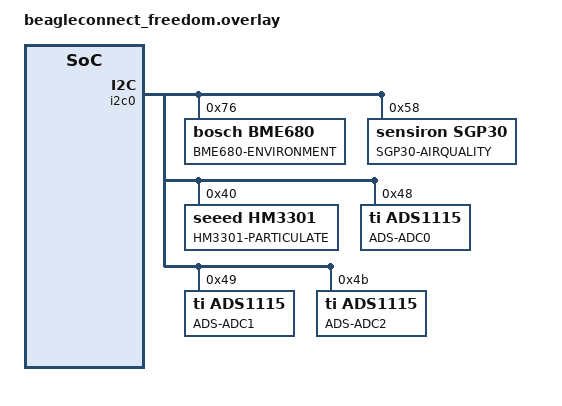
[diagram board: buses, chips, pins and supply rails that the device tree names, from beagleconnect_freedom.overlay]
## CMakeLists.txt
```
# SPDX-License-Identifier: Apache-2.0

cmake_minimum_required(VERSION 3.13.1)
# set_property(GLOBAL PROPERTY CSTD gnu11)
include($ENV{ZEPHYR_BASE}/cmake/app/boilerplate.cmake NO_POLICY_SCOPE)
project(beagleconnect_freedom)

FILE(GLOB app_sources src/*.c)
target_sources(app PRIVATE ${app_sources})

#set(bsec_dir $ENV{ZEPHYR_BASE}/../../bosch/BSEC_1.4.8.0_Generic_Release)
#set(BSEC_LIB_DIR     ${bsec_dir}/algo/normal_version/bin/gcc/Cortex_M4F)
#set(BSEC_INCLUDE_DIR ${bsec_dir}/algo/normal_version/bin/gcc/Cortex_M4F)
#target_include_directories(app PRIVATE ${bsec_dir}/examples/bsec_iot_example)
#target_sources(app PRIVATE ${bsec_dir}/examples/bsec_iot_example/bme680.c)
#add_library(bsec_lib STATIC IMPORTED GLOBAL)
#add_dependencies(bsec_lib math_lib bsec_target)
#set_target_properties(bsec_lib PROPERTIES IMPORTED_LOCATION "${BSEC_LIB_DIR}/libalgobsec.a")
#set_target_properties(bsec_lib PROPERTIES INTERFACE_INCLUDE_DIRECTORIES ${BSEC_INCLUDE_DIR})
#target_link_libraries(bsec_lib INTERFACE -L${LIBC_LIBRARY_DIR})
```

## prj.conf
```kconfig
CONFIG_SERIAL=y
CONFIG_SPI=y
CONFIG_I2C=y
#CONFIG_I2C_LOG_LEVEL_DBG=y
CONFIG_GPIO=y
CONFIG_CONSOLE=y
CONFIG_UART_CONSOLE=y
CONFIG_CONSOLE_SUBSYS=y
CONFIG_CONSOLE_GETCHAR=y
CONFIG_ENTROPY_GENERATOR=y
# This does not seem to be working atm
# CONFIG_FLASH=y
# CONFIG_SPI_NOR=y
CONFIG_LED=y
CONFIG_LOG=y
CONFIG_SHELL=y
CONFIG_GPIO_SHELL=y
CONFIG_SENSOR=y
#CONFIG_SENSOR_LOG_LEVEL_DBG=y
CONFIG_ADS1115=y
CONFIG_OPT3001=y
CONFIG_LIS2DH=y
CONFIG_LIS2DH_OPER_MODE_LOW_POWER=n
CONFIG_HDC20X0=y
CONFIG_BME680=y
CONFIG_HM3301=y
CONFIG_SGP30=y
CONFIG_IEEE802154=y
CONFIG_NETWORKING=y
CONFIG_NET_ICMPV6_LOG_LEVEL_DBG=y
CONFIG_NET_HOSTNAME_ENABLE=y
CONFIG_NET_IF_UNICAST_IPV6_ADDR_COUNT=3
CONFIG_NET_IF_MCAST_IPV6_ADDR_COUNT=4
CONFIG_NET_SHELL=y
CONFIG_NET_TCP=y
#CONFIG_NET_TCP1=y
CONFIG_NET_MAX_CONN=8
CONFIG_NET_MAX_CONTEXTS=8
CONFIG_NET_CONTEXT_NET_PKT_POOL=y
CONFIG_NET_PKT_RX_COUNT=8
CONFIG_NET_PKT_TX_COUNT=8
CONFIG_NET_STATISTICS=y
CONFIG_NET_LOG=y
CONFIG_MDNS_RESPONDER=y
CONFIG_DNS_SD=y
CONFIG_NET_CONFIG_AUTO_INIT=y
CONFIG_NET_CONFIG_SETTINGS=y
CONFIG_NET_CONFIG_MY_IPV6_ADDR="2001:db8::1"
CONFIG_NET_CONFIG_PEER_IPV6_ADDR="2001:db8::2"
CONFIG_NET_SOCKETS=y
CONFIG_NET_SOCKETS_POSIX_NAMES=y
CONFIG_NET_SOCKETS_POLL_MAX=8
CONFIG_NET_CONNECTION_MANAGER=y
CONFIG_NET_CONFIG_NEED_IPV6=y
CONFIG_NET_CONFIG_NEED_IPV4=n
CONFIG_NET_L2_IEEE802154=y
CONFIG_NET_L2_IEEE802154_SHELL=y
CONFIG_NET_L2_IEEE802154_LOG_LEVEL_INF=y
CONFIG_NET_CONFIG_IEEE802154_CHANNEL=26
CONFIG_NET_CONFIG_IEEE802154_DEV_NAME="IEEE802154_0"
#CONFIG_NET_CONFIG_IEEE802154_CHANNEL=1
#CONFIG_NET_CONFIG_IEEE802154_DEV_NAME="IEEE802154_1"
CONFIG_IEEE802154_CC13XX_CC26XX=y
CONFIG_IEEE802154_CC13XX_CC26XX_SUB_GHZ=n
#CONFIG_IEEE802154_CC13XX_CC26XX=n
#CONFIG_IEEE802154_CC13XX_CC26XX_SUB_GHZ=y

# Hacks
CONFIG_NEWLIB_LIBC=y
CONFIG_POSIX_MAX_FDS=16
CONFIG_PTHREAD_IPC=y
CONFIG_MAX_PTHREAD_COUNT=16
#CONFIG_PTHREAD_DYNAMIC_STACK=y
```

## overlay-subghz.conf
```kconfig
CONFIG_IEEE802154_CC13XX_CC26XX=n
CONFIG_IEEE802154_CC13XX_CC26XX_SUB_GHZ=y
CONFIG_NET_CONFIG_IEEE802154_DEV_NAME="IEEE802154_1"
CONFIG_NET_CONFIG_IEEE802154_CHANNEL=1
CONFIG_IEEE802154_CC13XX_CC26XX_SUB_GHZ_NUM_RX_BUF=6
```

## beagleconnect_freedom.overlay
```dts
/*
 * Copyright (c) 2020, Jason Kridner, BeagleBoard.org Foundation
 *
 * SPDX-License-Identifier: Apache-2.0
 */

&i2c0 {
	// Grove module defaults to 0x76
	// Environment Click defaults to 0x76
	environment: bme680@76 {
		compatible = "bosch,bme680";
		reg = <0x76>;
		label = "BME680-ENVIRONMENT";
	};

	airquality: sgp30@58 {
		compatible = "sensiron,sgp30";
		reg = <0x58>;
		label = "SGP30-AIRQUALITY";
	};

	particulate: hm3301@40 {
		compatible = "seeed,hm3301";
		reg = <0x40>;
		label = "HM3301-PARTICULATE";
	};

	//0x48,0x49,0x4b
	adc0: ads1115_0@48 {
		compatible = "ti,ads1115";
		reg = <0x48>;
		label = "ADS-ADC0";
	};

	adc1: ads1115_1@49 {
		compatible = "ti,ads1115";
		reg = <0x49>;
		label = "ADS-ADC1";
	};

	adc2: ads1115_2@4b {
		compatible = "ti,ads1115";
		reg = <0x4b>;
		label = "ADS-ADC2";
	};
};
```

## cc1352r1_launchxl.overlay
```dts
/*
 * Copyright (c) 2020, Jason Kridner, BeagleBoard.org Foundation
 *
 * SPDX-License-Identifier: Apache-2.0
 */

&i2c0 {
	// Grove module defaults to 0x76
	// Environment Click defaults to 0x76
	environment: bme680@76 {
		compatible = "bosch,bme680";
		reg = <0x76>;
		label = "BME680-ENVIRONMENT";
	};

	/* Don't error out, even if these devices aren't installed */
	accel: lis2dh12-accel@18 {
		compatible = "st,lis2dh12", "st,lis2dh", "st,lis2de12";
		reg = <0x18>;
		label = "LIS2DE12-ACCEL";
	};

	light: opt3001-light@44 {
		compatible = "ti,opt3001";
		reg = <0x44>;
		label = "OPT3001-LIGHT";
	};

	humidity: hdc2010-humidity@40 {
		compatible = "ti,hdc20x0";
		reg = <0x40>;
		/* drdy-gpios = <&gpio0 7 GPIO_ACTIVE_LOW>; */
		label = "HDC2010-HUMIDITY";
	};
};
```

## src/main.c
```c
/*
 * Copyright (c) 2020 Friedt Professional Engineering Services, Inc
 * Copyright (c) 2020 Jason Kridner
 *
 * SPDX-License-Identifier: Apache-2.0
 */

#include <zephyr.h>
#include <device.h>
#include <drivers/gpio.h>
#include <drivers/led.h>
#include <drivers/sensor.h>
#include <drivers/spi.h>
#include <stdio.h>
#include <stdbool.h>
#include <stdint.h>
#include <string.h>
#include <net/net_ip.h>
#include <net/socket.h>
#include <sys/util.h>
#include <random/rand32.h>

#define LOG_LEVEL LOG_LEVEL_INF
#include <logging/log.h>
LOG_MODULE_REGISTER(sensortest);

#define BLINK_MS 500

#define MAX_STR_LEN 200
static char outstr[MAX_STR_LEN];

enum api {
	BUTTON_API,
	SENSOR_API,
};

enum edev {
	BUTTON,
	LIGHT,
	ACCEL,
	HUMIDITY,
	ENVIRONMENT,
	AIRQUALITY,
	PARTICULATE,
	NUM_DEVICES,
};

struct led_work {
	uint8_t active_led;
	struct k_delayed_work dwork;
};

static void sensor_work_handler(struct k_work *work);

static const char *device_labels[NUM_DEVICES] = {
	[BUTTON] = DT_LABEL(DT_ALIAS(sw0)),
	[LIGHT] = "LIGHT",
	[ACCEL] = "ACCEL",
	[HUMIDITY] = "HUMIDITY",
	[ENVIRONMENT] = "ENVIRONMENT",
	[AIRQUALITY] = "AIRQUALITY",
	[PARTICULATE] = "PARTICULATE",
};

static const char *device_names[NUM_DEVICES] = {
	[BUTTON] = DT_GPIO_LABEL(DT_ALIAS(sw0), gpios),
	[LIGHT] = "OPT3001-LIGHT",
	[ACCEL] = "LIS2DE12-ACCEL",
	[HUMIDITY] = "HDC2010-HUMIDITY",
	[ENVIRONMENT] = "BME680-ENVIRONMENT",
	[AIRQUALITY] = "SGP30-AIRQUALITY",
	[PARTICULATE] = "HM3301-PARTICULATE",
};

static const uint8_t device_pins[NUM_DEVICES] = {
	[BUTTON] = DT_GPIO_PIN(DT_ALIAS(sw0), gpios),
};

static const enum api apis[NUM_DEVICES] = {
	BUTTON_API,
	SENSOR_API, /* LIGHT */
	SENSOR_API, /* ACCEL */
	SENSOR_API, /* HUMIDITY */
	SENSOR_API, /* ENVIRONMENT */
	SENSOR_API, /* AIRQUALITY */
	SENSOR_API, /* PARTICULATE */
};

static struct device *devices[NUM_DEVICES];

static struct led_work led_work;
K_WORK_DEFINE(sensor_work, sensor_work_handler);
static struct gpio_callback button_callback;

static struct sockaddr_in6 addr;
static int fd = -1;

/* Set TIMED_SENSOR_READ to 0 to disable */
#define TIMED_SENSOR_READ 60
static int sensor_read_count = TIMED_SENSOR_READ;

static void led_work_handler(struct k_work *work)
{
	ARG_UNUSED(work);

	/*
	int r;
	uint8_t prev_led;

	LOG_DBG("%s(): active_led: %u", __func__, led_work.active_led);

	if (led_work.active_led == LED_SUBG) {
		prev_led = LED_24G;
	} else {
		prev_led = LED_SUBG;
	}

	r = gpio_pin_set(devices[prev_led], device_pins[prev_led], 0);
	__ASSERT(r == 0, "failed to turn off led %u: %d", prev_led, r);

	r = gpio_pin_set(devices[led_work.active_led],
			 device_pins[led_work.active_led], 1);
	__ASSERT(r == 0, "failed to turn on led %u: %d", led_work.active_led,
		 r);

	if (led_work.active_led == LED_SUBG) {
		led_work.active_led = LED_24G;
	} else {
		led_work.active_led = LED_SUBG;
	}

	r = k_delayed_work_submit(&led_work.dwork, K_MSEC(BLINK_MS));
	__ASSERT(r == 0, "k_delayed_work_submit() failed for LED %u work: %d",
		 led_work.active_led, r);
	*/

	if (sensor_read_count > 0) {
		sensor_read_count--;
		if (sensor_read_count <= 0) {
			sensor_read_count = TIMED_SENSOR_READ;
			if(TIMED_SENSOR_READ > 0)
				sensor_read_count +=
				       	sys_rand32_get() % TIMED_SENSOR_READ;
			k_work_submit(&sensor_work);
		}
	}
}

/* Sampling frequency: 200Hz, 5ms
 * Sample window: 16 samples, 80ms, 12.5Hz
 * Data window: 32 RMS samples, 2.5s of data
 */
static void adc_work_handler(struct k_work *work)
{
}

static void print_sensor_value(size_t idx, const char *chan,
			       struct sensor_value *val)
{
	LOG_INF("%s: %s%d,%d", device_labels[idx], chan, val->val1, val->val2);

	sprintf(outstr+strlen(outstr), "%d%c:", idx, chan[0]);
	sprintf(outstr+strlen(outstr), "%d", val->val1);
	if (val->val2 != 0) {
		sprintf(outstr+strlen(outstr), ".%02d;", abs(val->val2) / 10000);
	} else {
		sprintf(outstr+strlen(outstr), ";");
	}
}

static void send_sensor_value()
{
	if ((fd >= 0) && (strlen(outstr) > 0)) {
		//LOG_INF("%s", log_strdup(outstr));
		sendto(fd, outstr, strlen(outstr), 0,
			(const struct sockaddr *) &addr,
			sizeof(addr));
	}

	outstr[0] = '\0';
}

static void sensor_work_handler(struct k_work *work)
{
	struct sensor_value val;
	struct sensor_value th[2] = {{0,0}, {0,0}}; /* calibration data for SGP30 */

	outstr[0] = '\0';

	for (size_t i = 0; i < NUM_DEVICES; ++i) {
		if (apis[i] != SENSOR_API) {
			continue;
		}

		if (devices[i] == NULL) {
			continue;
		}

		sensor_sample_fetch(devices[i]);

		if (i == LIGHT) {
			sensor_channel_get(devices[i], SENSOR_CHAN_LIGHT, &val);
			print_sensor_value(i, "l: ", &val);
			send_sensor_value();
			continue;
		}

		if (i == ACCEL) {
			sensor_channel_get(devices[i], SENSOR_CHAN_ACCEL_X,
					   &val);
			print_sensor_value(i, "x: ", &val);
			sensor_channel_get(devices[i], SENSOR_CHAN_ACCEL_Y,
					   &val);
			print_sensor_value(i, "y: ", &val);
			sensor_channel_get(devices[i], SENSOR_CHAN_ACCEL_Z,
					   &val);
			print_sensor_value(i, "z: ", &val);
			send_sensor_value();
			continue;
		}

		if (i == HUMIDITY) {
			sensor_channel_get(devices[i], SENSOR_CHAN_HUMIDITY,
					   &val);
			print_sensor_value(i, "h: ", &val);
			sensor_channel_get(devices[i], SENSOR_CHAN_AMBIENT_TEMP,
					   &val);
			print_sensor_value(i, "t: ", &val);
			send_sensor_value();
			continue;
		}

		if (i == ENVIRONMENT) {
			sensor_channel_get(devices[i], SENSOR_CHAN_AMBIENT_TEMP, &val);
			th[0].val1 = val.val1;
			th[0].val2 = val.val2;
			print_sensor_value(i, "t: ", &val);
			sensor_channel_get(devices[i], SENSOR_CHAN_PRESS, &val);
			print_sensor_value(i, "p: ", &val);
			sensor_channel_get(devices[i], SENSOR_CHAN_HUMIDITY, &val);
			th[1].val1 = val.val1;
			th[1].val2 = val.val2;
			print_sensor_value(i, "h: ", &val);
			sensor_channel_get(devices[i], SENSOR_CHAN_GAS_RES, &val);
			print_sensor_value(i, "g: ", &val);
			send_sensor_value();
			continue;
		}
		
		if (i == AIRQUALITY) {
			sensor_channel_get(devices[i], SENSOR_CHAN_VOC, &val);
			print_sensor_value(i, "v: ", &val);
			sensor_channel_get(devices[i], SENSOR_CHAN_CO2, &val);
			print_sensor_value(i, "c: ", &val);
			if(th[0].val1 != 0) {
				sensor_attr_set(devices[i], SENSOR_CHAN_VOC,
					SENSOR_ATTR_CALIB_TARGET, &th[0]);
			}
			send_sensor_value();
			continue;
		}

		if (i == PARTICULATE) {
			sensor_channel_get(devices[i], SENSOR_CHAN_PM_1_0, &val);
			print_sensor_value(i, "1: ", &val);
			sensor_channel_get(devices[i], SENSOR_CHAN_PM_2_5, &val);
			print_sensor_value(i, "2: ", &val);
			sensor_channel_get(devices[i], SENSOR_CHAN_PM_10, &val);
			print_sensor_value(i, "X: ", &val);
			send_sensor_value();
			continue;
		}
	}
}

static void button_handler(struct device *port, struct gpio_callback *cb,
			   gpio_port_pins_t pins)
{
	ARG_UNUSED(port);

	gpio_pin_t pin = device_pins[BUTTON];
	gpio_port_pins_t mask = BIT(pin);

	if ((mask & cb->pin_mask) != 0) {
		if ((mask & pins) != 0) {
			/* BEL (7) triggers BEEP on MSP430 */
			LOG_INF("%c%s event", 7, device_labels[BUTTON]);
			/* print sensor readings */
			k_work_submit(&sensor_work);
		}
	}
}

void main(void)
{
	int r;
	outstr[0] = '\0';

	fd = socket(AF_INET6, SOCK_DGRAM, IPPROTO_UDP);
	if (fd < 0) {
		LOG_ERR("failed to open socket");
	} else {
		memset(&addr, 0, sizeof(struct sockaddr_in6));
		addr.sin6_family = AF_INET6;
		addr.sin6_port = htons(9999);
		inet_pton(AF_INET6, "ff02::1", &addr.sin6_addr);
	}

	/* Force I2C_CTRL to HIGH */
	const struct device *i2c_ctrl_dev;
	i2c_ctrl_dev = device_get_binding(DT_GPIO_LABEL(DT_NODELABEL(i2c_ctrl), gpios));
	r = gpio_pin_configure(i2c_ctrl_dev, DT_GPIO_PIN(DT_NODELABEL(i2c_ctrl), gpios),
			DT_GPIO_FLAGS(DT_NODELABEL(i2c_ctrl), gpios) | GPIO_OUTPUT_HIGH);

	for (size_t i = 0; i < NUM_DEVICES; ++i) {
		LOG_INF("opening device %s", device_labels[i]);
		devices[i] =
			(struct device *)device_get_binding(device_names[i]);
		if (devices[i] == NULL) {
			LOG_ERR("failed to open device %s", device_labels[i]);
			continue;
		}

		/* per-device setup */
		switch (apis[i]) {
		/*
		case LED_API:
			r = gpio_pin_configure(devices[i], device_pins[i],
					       GPIO_OUTPUT_LOW);
			__ASSERT(r == 0,
				 "gpio_pin_configure(%s, %u, %x) failed: %d",
				 device_labels[i], device_pins[i],
				 GPIO_OUTPUT_LOW, r);
			break;
		*/
		case BUTTON_API:
			r = gpio_pin_configure(
				devices[i], device_pins[i],
				(GPIO_INPUT |
				 DT_GPIO_FLAGS(DT_ALIAS(sw0), gpios)));
			__ASSERT(r == 0,
				 "gpio_pin_configure(%s, %u, %x) failed: %d",
				 device_labels[i], device_pins[i],
				 (GPIO_INPUT |
				  DT_GPIO_FLAGS(DT_ALIAS(sw0), gpios)),
				 r);
			r = gpio_pin_interrupt_configure(
				devices[i], device_pins[i],
				GPIO_INT_EDGE_TO_ACTIVE);
			__ASSERT(
				r == 0,
				"gpio_pin_interrupt_configure(%s, %u, %x) failed: %d",
				device_labels[i], device_pins[i],
				GPIO_INT_EDGE_TO_ACTIVE, r);
			break;
		case SENSOR_API:
			break;
		default:
			break;
		}
	}

	/* setup timer-driven LED event */
	k_delayed_work_init(&led_work.dwork, led_work_handler);
	//led_work.active_led = LED_SUBG;
	r = k_delayed_work_submit(&led_work.dwork, K_MSEC(BLINK_MS));
	__ASSERT(r == 0, "k_delayed_work_submit() failed for LED %u work: %d",
		 LED_SUBG, r);

	/* setup input-driven button event */
	gpio_init_callback(
		&button_callback, (gpio_callback_handler_t)button_handler,
		BIT(device_pins[BUTTON]));
	r = gpio_add_callback(devices[BUTTON], &button_callback);
	__ASSERT(r == 0, "gpio_add_callback() failed: %d", r);

	for (;;) {
		k_sleep(K_MSEC(1000));
	}
}
```
